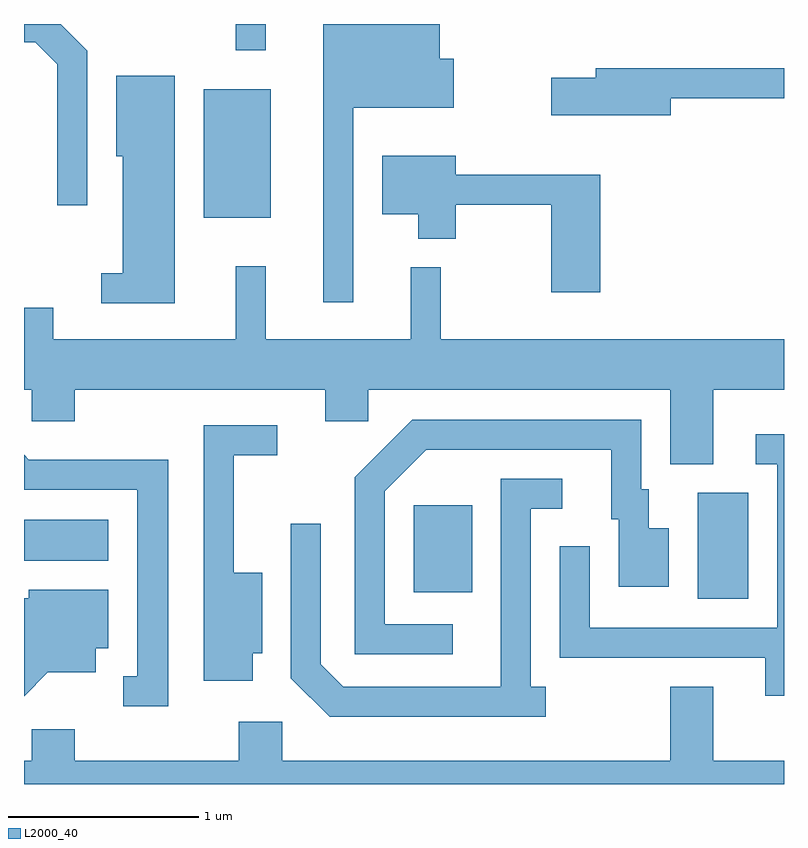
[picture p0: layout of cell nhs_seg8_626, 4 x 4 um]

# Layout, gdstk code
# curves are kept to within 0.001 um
import gdstk
lib = gdstk.Library(unit=1e-6, precision=1e-09)
def R(c, l, rs):  # rectangles x0, y0, x1, y1
    for r in rs: c.add(gdstk.rectangle(r[:2], r[2:], *l))
def P(c, l, *ps):  # polygons
    for p in ps: c.add(gdstk.Polygon(p, *l))
L2000_40 = (2000, 40)

nhs_seg8_626 = lib.new_cell('nhs_seg8_626')
R(nhs_seg8_626, L2000_40, [(207.156,1835.316,207.424,1835.874), (205.661,1835.351,205.969,1835.809), (203.611,1835.516,204.054,1835.734), (204.556,1837.321,204.909,1837.999), (204.726,1838.203,204.884,1838.342)])
P(nhs_seg8_626, L2000_40, [(205.344,1837.901),(205.874,1837.901),(205.874,1838.159),(205.799,1838.159),(205.799,1838.342),(205.186,1838.342),(205.186,1836.878),(205.344,1836.878)],
  [(203.944,1838.202),(203.804,1838.342),(203.611,1838.342),(203.611,1838.246),(203.669,1838.246),(203.786,1838.129),(203.786,1837.388),(203.944,1837.388)],
  [(207.014,1837.951),(207.611,1837.951),(207.611,1838.109),(206.621,1838.109),(206.621,1838.059),(206.386,1838.059),(206.386,1837.861),(207.014,1837.861)],
  [(204.404,1838.069),(204.096,1838.069),(204.096,1837.646),(204.131,1837.646),(204.131,1837.029),(204.018,1837.029),(204.018,1836.871),(204.404,1836.871)],
  [(206.644,1837.549),(205.884,1837.549),(205.884,1837.649),(205.496,1837.649),(205.496,1837.341),(205.686,1837.341),(205.686,1837.211),(205.884,1837.211),(205.884,1837.391),(206.386,1837.391),(206.386,1836.931),(206.644,1836.931)],
  [(207.239,1836.416),(207.611,1836.416),(207.611,1836.684),(205.804,1836.684),(205.804,1837.063),(205.646,1837.063),(205.646,1836.684),(204.884,1836.684),(204.884,1837.068),(204.726,1837.068),(204.726,1836.684),(203.764,1836.684),(203.764,1836.849),(203.611,1836.849),(203.611,1836.416),(203.651,1836.416),(203.651,1836.251),(203.879,1836.251),(203.879,1836.416),(205.196,1836.416),(205.196,1836.251),(205.424,1836.251),(205.424,1836.416),(207.011,1836.416),(207.011,1836.026),(207.239,1836.026)],
  [(205.868,1835.184),(205.509,1835.184),(205.509,1835.884),(205.727,1836.101),(206.701,1836.101),(206.701,1835.736),(206.741,1835.736),(206.741,1835.381),(207.004,1835.381),(207.004,1835.689),(206.899,1835.689),(206.899,1835.894),(206.859,1835.894),(206.859,1836.259),(205.654,1836.259),(205.351,1835.957),(205.351,1835.026),(205.868,1835.026)],
  [(204.814,1835.031),(204.864,1835.031),(204.864,1835.454),(204.714,1835.454),(204.714,1836.071),(204.943,1836.071),(204.943,1836.229),(204.556,1836.229),(204.556,1834.886),(204.814,1834.886)],
  [(207.611,1836.184),(207.463,1836.184),(207.463,1836.026),(207.576,1836.026),(207.576,1835.164),(206.589,1835.164),(206.589,1835.593),(206.431,1835.593),(206.431,1835.006),(207.511,1835.006),(207.511,1834.806),(207.611,1834.806)],
  [(204.369,1836.049),(203.637,1836.049),(203.611,1836.075),(203.611,1835.891),(204.206,1835.891),(204.206,1834.909),(204.133,1834.909),(204.133,1834.751),(204.369,1834.751)],
  [(206.358,1834.854),(206.279,1834.854),(206.279,1835.791),(206.443,1835.791),(206.443,1835.949),(206.121,1835.949),(206.121,1834.854),(205.292,1834.854),(205.174,1834.972),(205.174,1835.713),(205.016,1835.713),(205.016,1834.899),(205.219,1834.696),(206.358,1834.696)],
  [(203.737,1834.931),(203.989,1834.931),(203.989,1835.056),(204.054,1835.056),(204.054,1835.364),(203.636,1835.364),(203.636,1835.319),(203.611,1835.319),(203.611,1834.805)],
  [(207.611,1834.464),(207.239,1834.464),(207.239,1834.854),(207.011,1834.854),(207.011,1834.464),(204.969,1834.464),(204.969,1834.669),(204.741,1834.669),(204.741,1834.464),(203.879,1834.464),(203.879,1834.629),(203.651,1834.629),(203.651,1834.464),(203.611,1834.464),(203.611,1834.342),(207.611,1834.342)])

lib.write_gds('nhs_seg8_626.gds')
